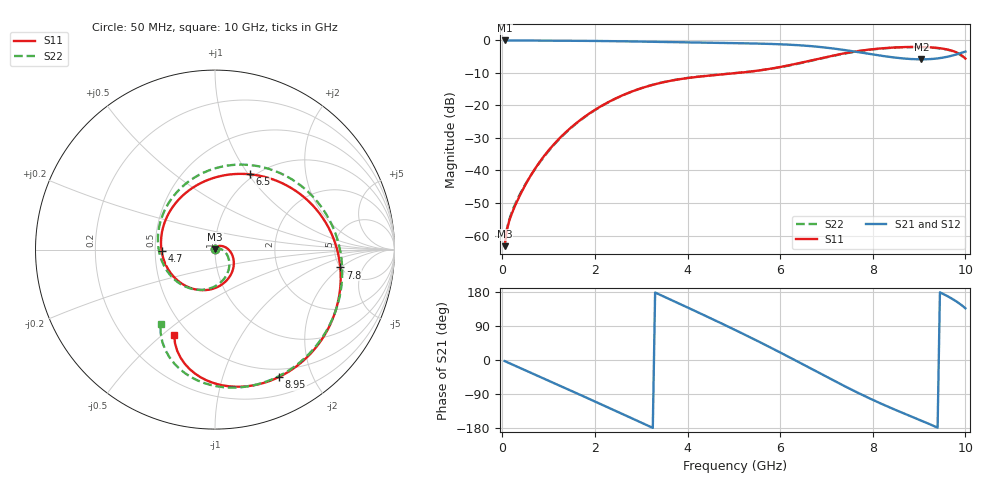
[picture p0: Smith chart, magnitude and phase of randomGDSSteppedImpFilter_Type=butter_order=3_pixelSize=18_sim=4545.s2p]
! freq	dB(S11)	phase(S11)	dB(S12)	phase(S12)
!  dB(S21)	phase(S21)	dB(S22)	phase(S22)
!S-par simulation data
#  GHz  S  DB  R 50
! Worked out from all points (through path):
!   200 points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, 50 MHz to 10 GHz, reference 50 ohm
!   highest |S21| = -0.01 dB at 50 MHz (marker M1); lowest = -5.8 dB at 9.05 GHz (marker M2)
!   group delay of S21, straight-line fit = 162 ps
!   lowest |S11| = -63.3 dB at 50 MHz (marker M3), VSWR 1.00, Z = 50 + j0.0658 ohm
!   |S11| at or under -10 dB: start of sweep to 5.096 GHz
!   |S22| runs from -63.0 to -2.0 dB; largest |S21 - S12| = 0
!   S11 on the Smith chart (normalised r, x): 50 MHz: 1.00, +0.00; 4.7 GHz: 0.54, -0.01; 6.5 GHz: 0.95, +1.02; 7.8 GHz: 4.97, -1.97; 8.95 GHz: 0.40, -1.55; 10 GHz: 0.42, -0.55
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0.05  -63.27 73.4  -0.01 -2.8  -0.01 -2.8  -62.96 69.5
0.1  -58.20 71.8  -0.01 -5.5  -0.01 -5.5  -57.92 64.6
0.2  -53.45 73.0  -0.02 -11.0  -0.02 -11.0  -53.02 58.7
0.65  -40.71 71.7  -0.05 -35.5  -0.05 -35.5  -40.75 36.9
1.2  -30.62 42.6  -0.08 -65.5  -0.08 -65.5  -30.80 9.4
1.75  -23.77 8.5  -0.13 -95.7  -0.13 -95.7  -23.87 -17.8
2.2  -19.66 -19.6  -0.19 -120.6  -0.19 -120.6  -19.73 -39.8
2.65  -16.55 -47.7  -0.28 -145.6  -0.28 -145.6  -16.58 -62.0
3.4  -13.11 -94.9  -0.46 172.4  -0.46 172.4  -13.08 -99.7
4.1  -11.39 -139.7  -0.64 133.0  -0.64 133.0  -11.34 -134.6
4.7  -10.53 -178.8  -0.77 98.5  -0.77 98.5  -10.47 -164.4
5.05  -10.07 158.0  -0.84 77.9  -0.84 77.9  -10.01 177.5
5.85  -8.56 105.4  -1.10 29.3  -1.10 29.3  -8.61 131.5
6.5  -6.70 65.1  -1.57 -12.0  -1.57 -12.0  -6.80 88.2
6.7  -6.05 53.3  -1.80 -24.9  -1.80 -24.9  -6.16 74.2
7.25  -4.34 21.7  -2.67 -60.2  -2.67 -60.2  -4.43 35.4
7.8  -3.04 -8.1  -3.85 -93.7  -3.85 -93.7  -3.11 -1.2
8.35  -2.27 -35.6  -5.04 -124.3  -5.04 -124.3  -2.32 -33.9
8.95  -2.00 -63.2  -5.80 -155.0  -5.80 -155.0  -2.05 -65.9
9.05  -2.02 -67.8  -5.82 -160.1  -5.82 -160.1  -2.07 -71.1
9.55  -2.61 -91.4  -5.20 172.5  -5.20 172.5  -2.68 -97.7
10  -5.57 -115.6  -3.43 136.5  -3.43 136.5  -5.81 -126.2
